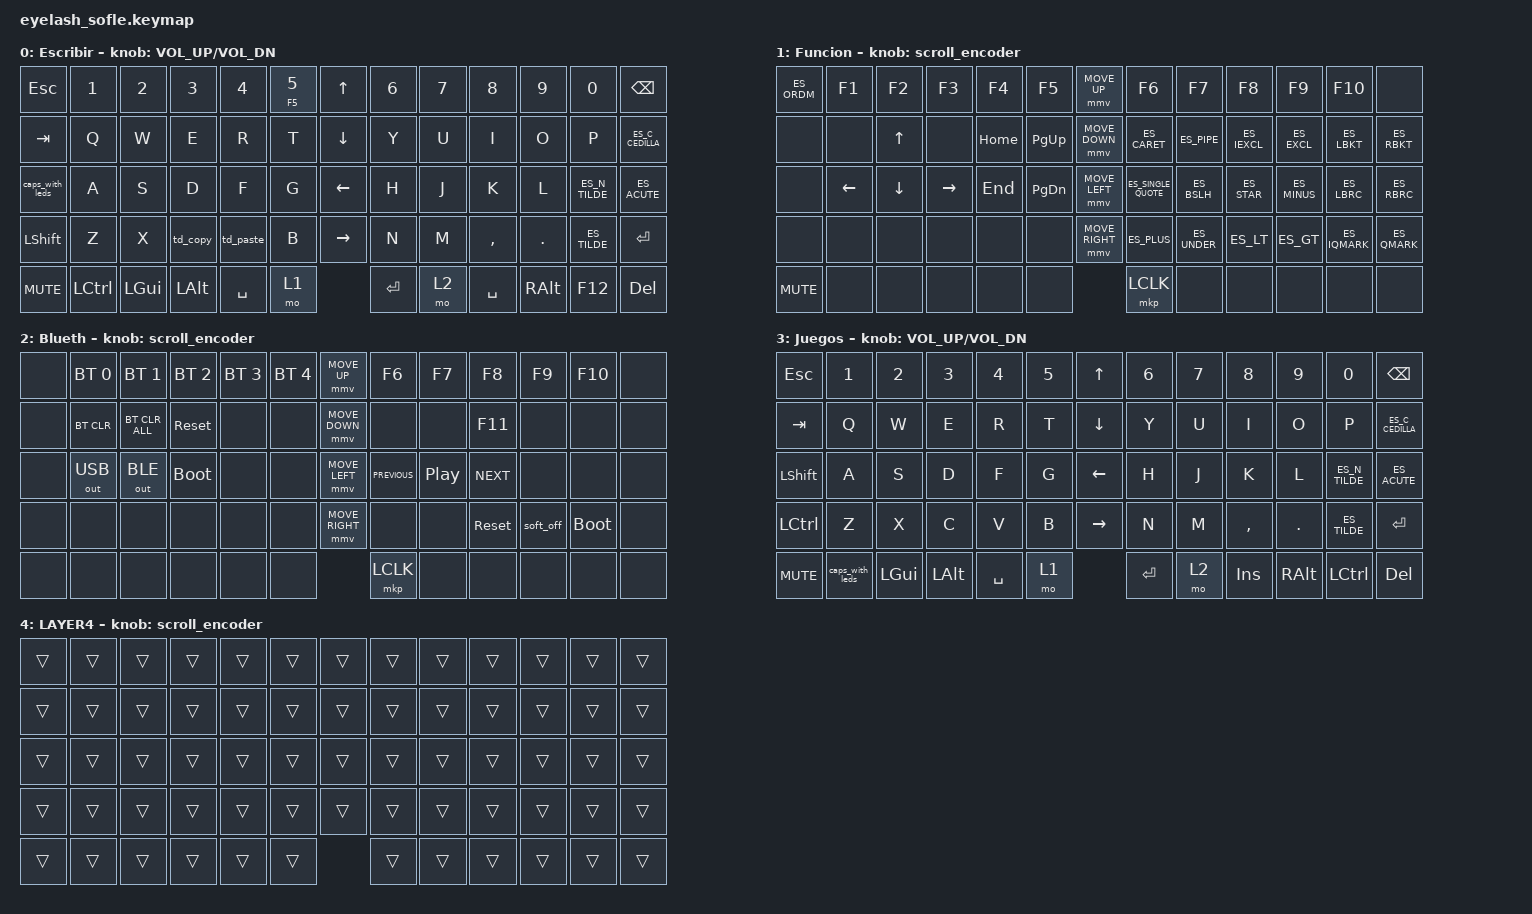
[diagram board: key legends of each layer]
#define ZMK_POINTING_DEFAULT_MOVE_VAL 1200  // 600
#define ZMK_POINTING_DEFAULT_SCRL_VAL 25   // 10

#include <input/processors.dtsi>
#include <zephyr/dt-bindings/input/input-event-codes.h>
#include <behaviors.dtsi>
#include <dt-bindings/zmk/bt.h>
#include <dt-bindings/zmk/keys.h>
#include <dt-bindings/zmk/outputs.h>
#include <dt-bindings/zmk/pointing.h>
#include <dt-bindings/zmk/rgb.h>
#include "keys_es.h"

&mmv_input_listener { input-processors = <&zip_xy_scaler 2 1>; };

&msc_input_listener { input-processors = <&zip_scroll_scaler 2 1>; };

&msc {
    acceleration-exponent = <1>;      // 0
    time-to-max-speed-ms = <100>;       // 300
    delay-ms = <0>;                   // 0
};

&mmv {
    time-to-max-speed-ms = <500>;
    acceleration-exponent = <1>;
    trigger-period-ms = <16>;
};

&soft_off { hold-time-ms = <2000>; };

/ {
    scroll_encoder: scroll_encoder {
        compatible = "zmk,behavior-sensor-rotate";
        #sensor-binding-cells = <0>;
        bindings = <&msc SCRL_DOWN>, <&msc SCRL_UP>;

        tap-ms = <100>;
    };

    behaviors {
        caps_with_leds: caps_with_leds {
        compatible = "zmk,behavior-macro";
        #binding-cells = <0>;
    
        bindings = <&kp CAPSLOCK &rgb_ug RGB_TOG &rgb_ug RGB_EFF &rgb_ug RGB_COLOR_HSB(0,0,100)>;    
    };



        //Si presiono normal escribe 5, si mantengo actua como un f5
        num_f: num_function {
            compatible = "zmk,behavior-hold-tap";
            label = "NUM_FUNCTION";
            #binding-cells = <2>;
            tapping-term-ms = <200>;
            quick-tap-ms = <0>;
            flavor = "tap-preferred";
            bindings = <&kp>, <&kp>;
        };


        td_copy: tap_dance_copy {
            compatible = "zmk,behavior-tap-dance";
            #binding-cells = <0>;
            tapping-term-ms = <200>;
            bindings = <&kp C>, <&kp LC(C)>;
        };

        td_paste: tap_dance_paste {
            compatible = "zmk,behavior-tap-dance";
            #binding-cells = <0>;
            tapping-term-ms = <200>;
            bindings = <&kp V>, <&kp LC(V)>;
        };
       

    };

    combos {
        compatible = "zmk,combos";

        softoff {
            bindings = <&soft_off>;
            key-positions = <14 28 40>;
        };

         to_layer3 {
            bindings = <&to 3>;
            key-positions = <57 59>;
            layers  = <0>;
        };

         back_to_layer0 {
            bindings = <&to 0>;
            key-positions = <57 59>;  
            layers = <3>;            
        };
    };

       macros {
        SHIFT_MCLK: SHIFT_MCLK {
            compatible = "zmk,behavior-macro";
            #binding-cells = <0>;
            bindings =
                <&macro_press>,
                <&kp LEFT_SHIFT>,
                <&macro_press>,
                <&mkp MB3>,
                <&macro_pause_for_release>,
                <&macro_release>,
                <&kp LEFT_SHIFT &mkp MB3>;
 
            label = "SHIFT_MCLK";
        };
    };
    keymap {
        compatible = "zmk,keymap";

        layer0 {
            bindings = <
&kp ESC         &kp N1     &kp N2        &kp N3        &kp N4     &num_f F5 N5       &kp UP_ARROW     &kp N6     &kp N7     &kp N8     &kp N9           &kp N0           &kp BACKSPACE
&kp TAB         &kp Q      &kp W         &kp E         &kp R      &kp T        &kp DOWN_ARROW   &kp Y      &kp U      &kp I      &kp O            &kp P            &kp ES_C_CEDILLA
&caps_with_leds  &kp A      &kp S        &kp D         &kp F      &kp G        &kp LEFT_ARROW   &kp H      &kp J      &kp K      &kp L            &kp ES_N_TILDE   &kp ES_ACUTE
&kp LSHFT       &kp Z      &kp X         &td_copy      &td_paste      &kp B        &kp RIGHT_ARROW  &kp N      &kp M      &kp COMMA  &kp DOT          &kp ES_TILDE     &kp ENTER
&kp C_MUTE      &kp LCTRL   &kp LEFT_GUI  &kp LEFT_ALT  &kp SPACE  &mo 1        &kp ENTER        &mo 2      &kp SPACE  &kp RALT   &kp F12         &kp DELETE
            >;
            sensor-bindings = <&inc_dec_kp C_VOLUME_UP C_VOL_DN>;
            display-name = "Escribir";
        };

        layer_1 {
            bindings = <
&kp ES_ORDM  &kp F1           &kp F2           &kp F3           &kp F4           &kp F5             &mmv MOVE_UP     &kp F6               &kp F7           &kp F8         &kp F9        &kp F10           &none
&none       &none            &kp UP_ARROW     &none            &kp HOME         &kp PG_UP          &mmv MOVE_DOWN   &kp ES_CARET          &kp ES_PIPE      &kp ES_IEXCL   &kp ES_EXCL   &kp ES_LBKT       &kp ES_RBKT
&none       &kp LEFT_ARROW   &kp DOWN_ARROW   &kp RIGHT_ARROW  &kp END          &kp PG_DN          &mmv MOVE_LEFT   &kp ES_SINGLE_QUOTE   &kp ES_BSLH      &kp ES_STAR    &kp ES_MINUS  &kp ES_LBRC       &kp ES_RBRC
&none       &none            &none            &none            &none            &none              &mmv MOVE_RIGHT  &kp ES_PLUS           &kp ES_UNDER     &kp ES_LT      &kp ES_GT     &kp ES_IQMARK     &kp ES_QMARK           
&kp C_MUTE  &none            &none            &none            &none            &none              &mkp LCLK        &none                 &none            &none          &none         &none
            >;
            sensor-bindings = <&scroll_encoder>;
            display-name = "Funcion";
        };

        layer_2 {
            bindings = <
&none      &bt BT_SEL 0     &bt BT_SEL 1    &bt BT_SEL 2     &bt BT_SEL 3     &bt BT_SEL 4    &mmv MOVE_UP      &kp F6          &kp F7            &kp F8       &kp F9       &kp F10      &none
&none      &bt BT_CLR       &bt BT_CLR_ALL  &sys_reset         &none            &none           &mmv MOVE_DOWN    &none           &none             &kp F11      &none      &none        &none
&none      &out OUT_USB     &out OUT_BLE    &bootloader        &none            &none           &mmv MOVE_LEFT    &kp C_PREVIOUS  &kp C_PLAY_PAUSE  &kp C_NEXT   &none        &none        &none
&none      &none            &none           &none             &none            &none          &mmv MOVE_RIGHT     &none           &none             &sys_reset   &soft_off    &bootloader  &none 
&none      &none            &none            &none                 &none            &none           &mkp LCLK         &none            &none  &none        &none        &none
            >;
            sensor-bindings = <&scroll_encoder>;
            display-name = "Blueth";
        };

        layer3 {
            bindings = <
&kp ESC         &kp N1     &kp N2        &kp N3        &kp N4     &kp N5       &kp UP_ARROW     &kp N6     &kp N7     &kp N8     &kp N9           &kp N0           &kp BACKSPACE
&kp TAB         &kp Q      &kp W         &kp E         &kp R      &kp T        &kp DOWN_ARROW   &kp Y      &kp U      &kp I      &kp O            &kp P            &kp ES_C_CEDILLA
&kp LSHFT       &kp A      &kp S         &kp D         &kp F      &kp G        &kp LEFT_ARROW   &kp H      &kp J      &kp K      &kp L            &kp ES_N_TILDE   &kp ES_ACUTE
&kp LCTRL       &kp Z      &kp X         &kp C         &kp V      &kp B        &kp RIGHT_ARROW  &kp N      &kp M      &kp COMMA  &kp DOT          &kp ES_TILDE     &kp ENTER
&kp C_MUTE      &caps_with_leds  &kp LEFT_GUI  &kp LEFT_ALT  &kp SPACE  &mo 1        &kp ENTER        &mo 2    &kp INS  &kp RALT   &kp LCTRL        &kp DELETE
            >;
            sensor-bindings = <&inc_dec_kp C_VOLUME_UP C_VOL_DN>;
            display-name = "Juegos";
        };

        layer_4 {
            bindings = <
&trans  &trans  &trans  &trans  &trans  &trans    &trans  &trans  &trans  &trans  &trans  &trans  &trans
&trans  &trans  &trans  &trans  &trans  &trans    &trans  &trans  &trans  &trans  &trans  &trans  &trans
&trans  &trans  &trans  &trans  &trans  &trans    &trans  &trans  &trans  &trans  &trans  &trans  &trans
&trans  &trans  &trans  &trans  &trans  &trans    &trans  &trans  &trans  &trans  &trans  &trans  &trans
&trans  &trans  &trans  &trans  &trans  &trans    &trans  &trans  &trans  &trans  &trans  &trans
            >;

            display-name = "LAYER4";
            sensor-bindings = <&scroll_encoder>;
        };
    };
};
